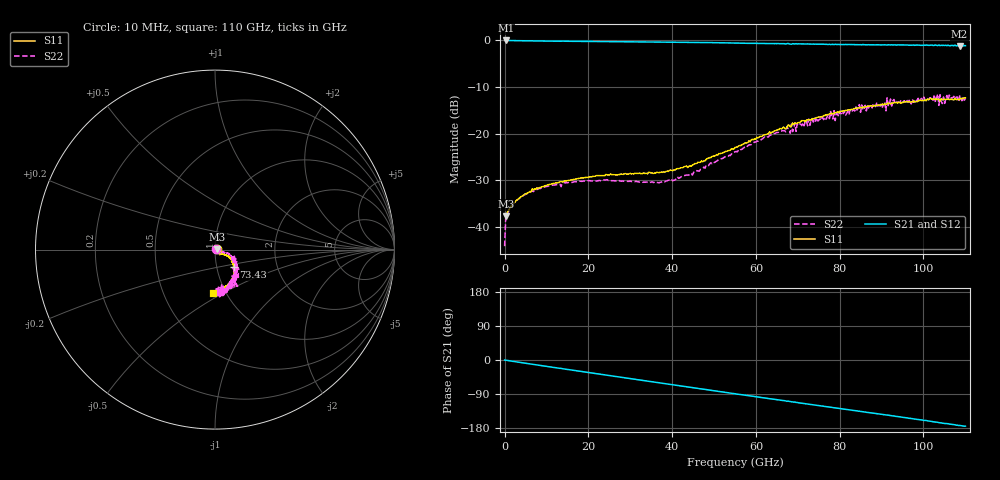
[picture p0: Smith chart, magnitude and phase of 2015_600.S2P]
!  2-Port S-parameters saved by WinCal
! VAR MeasName=S-Parameters (CALIBRATED_DATA) read from VNA (E8361A)
! VAR MeasDate=2015/02/20 18:50:00
! VAR NAME=20150220_TRL_LINE_600um_1
! VAR FILENAME=20150220_TRL_LINE_600um_1.S2P
! VAR DATE=2015/02/20 18:50:00
! VAR PHYS_PORTS=1,2
# Hz S MA R 50
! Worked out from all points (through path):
!   401 points, 10 MHz to 110 GHz, reference 50 ohm
!   highest |S21| = -0.13 dB at 285 MHz (marker M1); lowest = -1.4 dB at 108.6 GHz (marker M2)
!   group delay of S21, straight-line fit = 4.39 ps
!   lowest |S11| = -37.7 dB at 285 MHz (marker M3), VSWR 1.03, Z = 51.3 + j0.167 ohm
!   |S11| at or under -10 dB: start of sweep to end of sweep
!   |S22| runs from -44.0 to -11.6 dB; largest |S21 - S12| = 0.02
!   S11 on the Smith chart (normalised r, x): 10 MHz: 1.03, +0.01; 73.43 GHz: 1.21, -0.24; 110 GHz: 0.87, -0.45
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1e7  0.01351 19.9  0.9855 -0.3  0.9882 -0.2  0.006287 13.0
2.84975e8  0.01305 7.2  0.9857 -0.4  0.9856 -0.5  0.0128 5.3
8.34925e8  0.015 10.2  0.9843 -1.5  0.9846 -1.5  0.0144 11.2
1.1099e9  0.01554 11.3  0.984 -2.1  0.984 -2.0  0.01547 12.0
2.2098e9  0.01809 11.3  0.9815 -3.9  0.9817 -4.0  0.0181 11.5
4.4096e9  0.02187 5.8  0.9782 -7.7  0.9779 -7.7  0.02175 5.8
1.018408e10  0.02829 -12.8  0.9709 -17.2  0.9706 -17.2  0.02727 -12.7
1.843332e10  0.03362 -32.9  0.9635 -30.4  0.9636 -30.5  0.03092 -33.8
2.833242e10  0.03668 -44.5  0.9552 -46.4  0.9559 -46.5  0.03109 -45.2
3.685665e10  0.03818 -41.9  0.9469 -60.1  0.9467 -60.2  0.02978 -39.0
4.428098e10  0.04526 -34.3  0.9384 -71.9  0.9395 -72.1  0.03662 -23.8
5.5005e10  0.07108 -27.4  0.9248 -89.2  0.9253 -89.3  0.06393 -16.3
6.462912e10  0.1072 -32.1  0.9134 -104.1  0.9128 -104.4  0.1004 -22.9
7.342832e10  0.1432 -42.5  0.8993 -117.9  0.8935 -117.7  0.1446 -36.8
8.195255e10  0.1786 -53.3  0.892 -131.0  0.8855 -130.9  0.1722 -47.8
8.415235e10  0.1863 -58.0  0.888 -134.1  0.8825 -134.2  0.1783 -52.7
9.185165e10  0.208 -69.8  0.8853 -146.1  0.8794 -146.4  0.2038 -55.7
1.023007e11  0.2329 -84.0  0.8716 -163.0  0.8666 -162.6  0.2272 -76.6
1.047755e11  0.2301 -87.4  0.8755 -167.0  0.8617 -166.2  0.2457 -81.5
1.067003e11  0.2319 -88.9  0.8737 -169.8  0.8623 -169.4  0.2409 -82.6
1.086251e11  0.229 -91.1  0.8549 -172.6  0.8553 -172.3  0.2524 -83.6
1.1e11  0.241 -92.3  0.8671 -174.5  0.8554 -174.7  0.2364 -83.5
